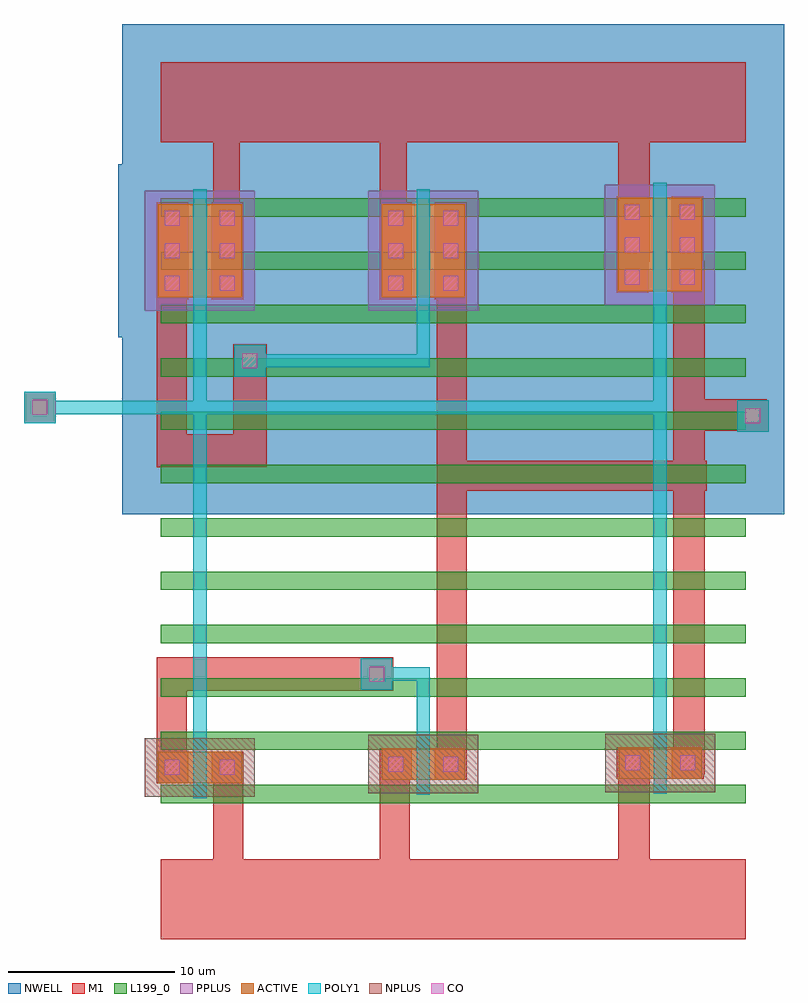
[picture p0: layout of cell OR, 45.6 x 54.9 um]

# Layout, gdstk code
from math import pi, radians
import gdstk
lib = gdstk.Library(unit=1e-6, precision=1e-08)
def R(c, l, rs):  # rectangles x0, y0, x1, y1
    for r in rs: c.add(gdstk.rectangle(r[:2], r[2:], *l))
def A(c, l, x, y, w, h, nx, ny, dx, dy):  # array of equal rectangles
    R(c, l, [(x+i*dx, y+j*dy, x+i*dx+w, y+j*dy+h) for i in range(nx) for j in range(ny)])
ACTIVE = (10, 0)
NWELL = (20, 0)
NPLUS = (25, 0)
PPLUS = (26, 0)
POLY1 = (30, 0)
CO = (35, 0)
M1 = (40, 0)
L199_0 = (199, 0)

pmos = lib.new_cell('pMOS')
R(pmos, ACTIVE, [(-2.5,-2.8,-0.8,2.8), (-1.4,-2.8,1.4,2.8), (0.8,-2.8,2.5,2.8)])
R(pmos, NWELL, [(-4.9,-5.2,4.9,5.2)])
R(pmos, PPLUS, [(-3.3,-3.6,3.3,3.6)])
R(pmos, POLY1, [(-0.4,-3.7,0.4,3.7)])
A(pmos, CO, -2.1, -2.4, 0.9, 0.9, 1, 3, 0, 1.95)
A(pmos, CO, 1.2, -2.4, 0.9, 0.9, 1, 3, 0, 1.95)
R(pmos, M1, [(-2.6,-2.9,-0.7,2.9), (0.7,-2.9,2.6,2.9)])

contactpoly1 = lib.new_cell('ContactPoly1')
R(contactpoly1, POLY1, [(-0.95,-0.95,0.95,0.95)])
R(contactpoly1, CO, [(-0.45,-0.45,0.45,0.45)])
R(contactpoly1, M1, [(-0.95,-0.95,0.95,0.95)])

nmos_1 = lib.new_cell('nMOS$1')
R(nmos_1, ACTIVE, [(-2.5,-0.95,-0.8,0.95), (-1.4,-0.95,1.4,0.95), (0.8,-0.95,2.5,0.95)])
R(nmos_1, NPLUS, [(-3.3,-1.75,3.3,1.75)])
R(nmos_1, POLY1, [(-0.4,-1.85,0.4,1.85)])
R(nmos_1, CO, [(-2.1,-0.45,-1.2,0.45), (1.2,-0.45,2.1,0.45)])
R(nmos_1, M1, [(-2.6,-0.95,-0.7,0.95), (0.7,-0.95,2.6,0.95)])

rails_3 = lib.new_cell('RAILS$3')
R(rails_3, NWELL, [(-19.85,-0.8,19.85,28.6)])
R(rails_3, M1, [(-17.55,-26.3,17.55,-21.5), (-17.55,21.5,17.55,26.3)])
A(rails_3, L199_0, -17.55, -18.15, 35.1, 1.1, 1, 12, 0, 3.2)

c_or = lib.new_cell('OR')
R(c_or, POLY1, [(-23.8,-9,-23,-4), (-37.2,-8.4,-36.4,13.2), (-9.6,-8.14,-8.8,18.6), (-26.6,-4.8,-23,-4), (-47,11.2,-8.8,12), (-37.2,12.2,-36.4,19.8), (-34.2,14,-23,14.8), (-23.8,14,-23,19.6)])
R(c_or, M1, [(-36,-17.2,-34.2,-9.2), (-26,-17.2,-24.2,-9), (-11.7,-16.72,-9.8,-9.24), (-8.4,-10.4,-6.5,20.4), (-39.4,-9.8,-37.6,-3.4), (-22.6,-9.4,-20.8,9.8), (-39.4,-5.4,-25.2,-3.4), (-22.6,6.6,-6.4,8.4), (-39.4,8,-37.6,19.6), (-39.4,8,-32.8,10), (-34.8,8,-32.8,15.4), (-22.6,8,-20.8,19.6), (-8.2,10.2,-2.8,12.1), (-11.7,20.33,-9.8,29.6), (-36,22.2,-34.4,29.4), (-26,22.2,-24.4,29.4)])
c_or.add(gdstk.Reference(pmos, (-23.4,21), rotation=pi))
c_or.add(gdstk.Reference(contactpoly1, (-26.2,-4.4), rotation=pi/2))
c_or.add(gdstk.Reference(nmos_1, (-36.8,-10), rotation=pi))
c_or.add(gdstk.Reference(pmos, (-36.8,21), rotation=pi))
c_or.add(gdstk.Reference(pmos, (-9.2,21.37)))
c_or.add(gdstk.Reference(nmos_1, (-9.18,-9.73)))
c_or.add(gdstk.Reference(contactpoly1, (-46.4,11.6)))
c_or.add(gdstk.Reference(contactpoly1, (-3.62,11.09), rotation=pi/2))
c_or.add(gdstk.Reference(nmos_1, (-23.4,-9.8)))
c_or.add(gdstk.Reference(contactpoly1, (-33.8,14.4), rotation=pi/2))
c_or.add(gdstk.Reference(rails_3, (-21.6,6)))

lib.write_gds('OR.gds')
